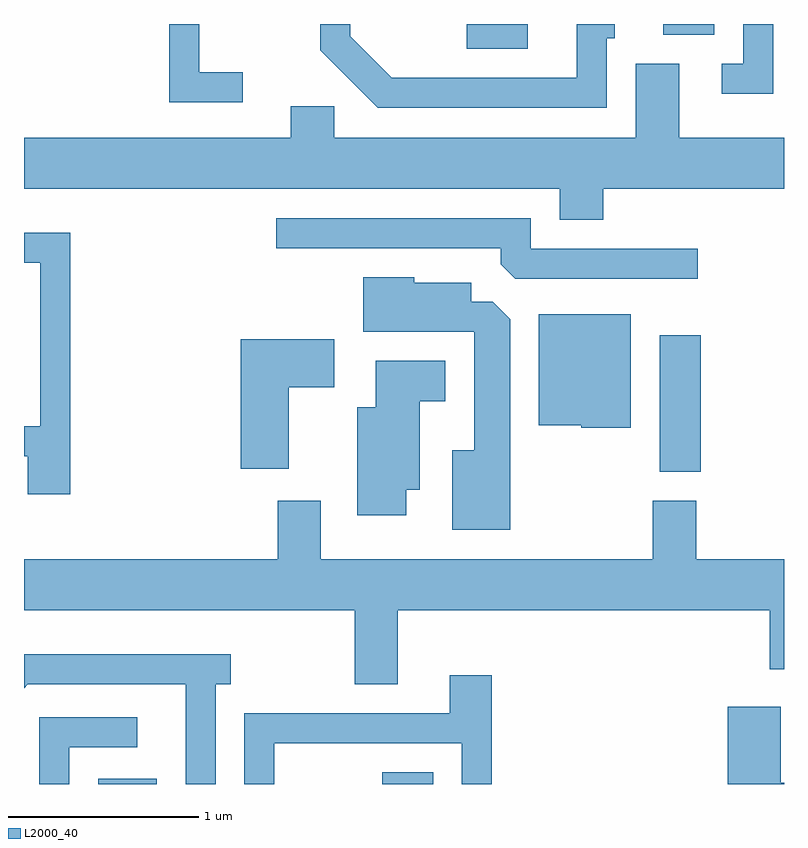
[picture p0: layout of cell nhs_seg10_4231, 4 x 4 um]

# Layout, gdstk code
import gdstk
lib = gdstk.Library(unit=1e-6, precision=1e-09)
def R(c, l, rs):  # rectangles x0, y0, x1, y1
    for r in rs: c.add(gdstk.rectangle(r[:2], r[2:], *l))
def P(c, l, *ps):  # polygons
    for p in ps: c.add(gdstk.Polygon(p, *l))
L2000_40 = (2000, 40)

nhs_seg10_4231 = lib.new_cell('nhs_seg10_4231')
R(nhs_seg10_4231, L2000_40, [(310.001,2148.522,310.309,2148.549), (311.496,2148.522,311.764,2148.584), (312.956,2150.166,313.174,2150.884), (311.941,2152.391,312.263,2152.522), (312.976,2152.466,313.244,2152.522)])
P(nhs_seg10_4231, L2000_40, [(313.554,2152.522),(313.396,2152.522),(313.396,2152.314),(313.283,2152.314),(313.283,2152.156),(313.554,2152.156)],
  [(312.679,2152.446),(312.719,2152.446),(312.719,2152.522),(312.521,2152.522),(312.521,2152.239),(311.547,2152.239),(311.329,2152.457),(311.329,2152.522),(311.171,2152.522),(311.171,2152.384),(311.474,2152.081),(312.679,2152.081)],
  [(310.763,2152.269),(310.534,2152.269),(310.534,2152.522),(310.376,2152.522),(310.376,2152.111),(310.763,2152.111)],
  [(312.659,2151.656),(313.611,2151.656),(313.611,2151.924),(313.059,2151.924),(313.059,2152.314),(312.831,2152.314),(312.831,2151.924),(311.244,2151.924),(311.244,2152.089),(311.016,2152.089),(311.016,2151.924),(309.611,2151.924),(309.611,2151.656),(312.431,2151.656),(312.431,2151.491),(312.659,2151.491)],
  [(313.158,2151.339),(312.279,2151.339),(312.279,2151.499),(310.938,2151.499),(310.938,2151.341),(312.121,2151.341),(312.121,2151.257),(312.197,2151.181),(313.158,2151.181)],
  [(309.854,2151.424),(309.611,2151.424),(309.611,2151.266),(309.696,2151.266),(309.696,2150.404),(309.611,2150.404),(309.611,2150.246),(309.631,2150.246),(309.631,2150.046),(309.854,2150.046)],
  [(312.169,2150.969),(312.079,2151.059),(311.964,2151.059),(311.964,2151.159),(311.664,2151.159),(311.664,2151.189),(311.396,2151.189),(311.396,2150.901),(311.981,2150.901),(311.981,2150.279),(311.866,2150.279),(311.866,2149.861),(312.169,2149.861)],
  [(312.804,2150.994),(312.321,2150.994),(312.321,2150.411),(312.545,2150.411),(312.545,2150.396),(312.804,2150.396)],
  [(311.004,2150.611),(311.244,2150.611),(311.244,2150.864),(310.751,2150.864),(310.751,2150.181),(311.004,2150.181)],
  [(311.624,2150.071),(311.694,2150.071),(311.694,2150.536),(311.829,2150.536),(311.829,2150.749),(311.461,2150.749),(311.461,2150.504),(311.366,2150.504),(311.366,2149.936),(311.624,2149.936)],
  [(311.579,2149.436),(313.536,2149.436),(313.536,2149.126),(313.611,2149.126),(313.611,2149.704),(313.149,2149.704),(313.149,2150.014),(312.921,2150.014),(312.921,2149.704),(311.174,2149.704),(311.174,2150.014),(310.946,2150.014),(310.946,2149.704),(309.611,2149.704),(309.611,2149.436),(311.351,2149.436),(311.351,2149.046),(311.579,2149.046)],
  [(310.619,2149.046),(310.698,2149.046),(310.698,2149.204),(309.611,2149.204),(309.611,2149.025),(309.632,2149.046),(310.461,2149.046),(310.461,2148.522),(310.619,2148.522)],
  [(310.929,2148.736),(311.916,2148.736),(311.916,2148.522),(312.074,2148.522),(312.074,2149.094),(311.851,2149.094),(311.851,2148.894),(310.771,2148.894),(310.771,2148.522),(310.929,2148.522)],
  [(313.611,2148.529),(313.594,2148.529),(313.594,2148.929),(313.316,2148.929),(313.316,2148.522),(313.611,2148.522)],
  [(309.849,2148.716),(310.208,2148.716),(310.208,2148.874),(309.691,2148.874),(309.691,2148.522),(309.849,2148.522)])

lib.write_gds('nhs_seg10_4231.gds')
